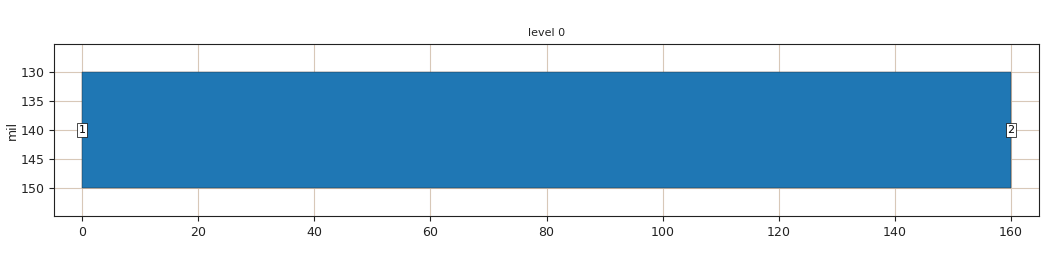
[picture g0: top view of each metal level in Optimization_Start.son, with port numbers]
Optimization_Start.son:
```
FTYP SONPROJ 4 ! Sonnet Project File
VER 12.52
HEADER
LIC sonnet9.aa.99999
DAT 07/01/2010 10:16:42
BUILT_BY_CREATED Matlab 6/9/2010 06/10/2010 09:43:03
BUILT_BY_SAVED Sonnet Matlab Inverface v3
MDATE 06/29/2010 15:33:23
HDATE 06/10/2010 10:39:51
END HEADER
DIM
FREQ GHZ
IND NH
LNG MIL
ANG DEG
CON /OH
CAP PF
RES OH
END DIM
FREQ
STEP 5
END FREQ
CONTROL
STD
OPTIONS  -d
SPEED 0
CACHE_ABS 1
TARG_ABS 300
Q_ACC N
END CONTROL
GEO
TMET "Lossless" 0 SUP 0 0 0 0
BMET "Lossless" 0 SUP 0 0 0 0
BOX 1 160 160 320 320 20 0
      50 1 1 0 0 0 0 "Unnamed" 
      5 1 1 0 0 0 0 "Unnamed" 
POR1 STD
POLY 7 1
3
1 50 0 0 0 0 140
POR1 STD
POLY 7 1
1
2 50 0 0 0 160 140
NUM 1
0 5 -1 N 7 1 1 100 100 0 0 0 Y
0 130
160 130
160 150
0 150
0 130
END
END GEO
OPT
MAX 100
VARS
END OPT
VARSWP
END VARSWP
FILEOUT
TS D Y $BASENAME.s2p IC 8 S MA R 50
END FILEOUT
```
